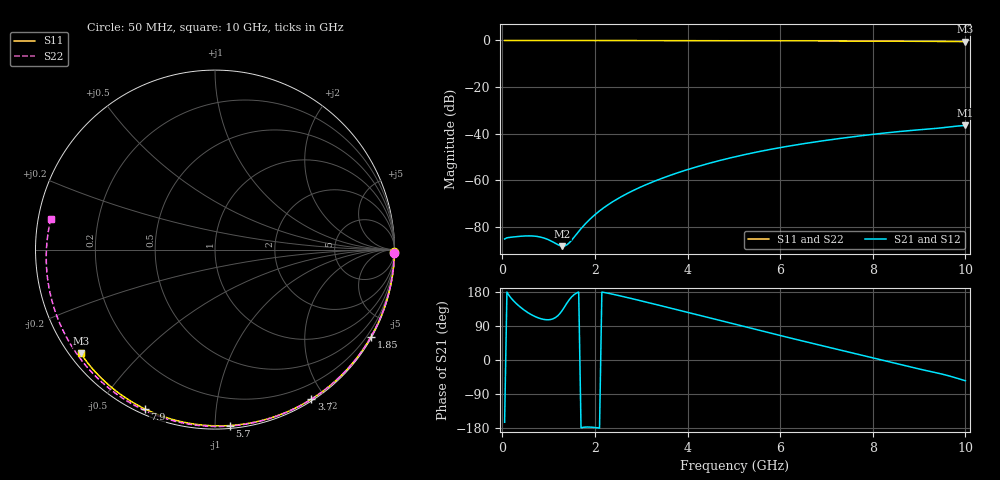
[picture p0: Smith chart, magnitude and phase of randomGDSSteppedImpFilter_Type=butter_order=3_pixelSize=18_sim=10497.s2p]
! freq	dB(S11)	phase(S11)	dB(S12)	phase(S12)
!  dB(S21)	phase(S21)	dB(S22)	phase(S22)
!S-par simulation data
#  GHz  S  DB  R 50
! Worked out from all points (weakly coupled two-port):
!   200 points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, 50 MHz to 10 GHz, reference 50 ohm
!   highest |S21| = -36.49 dB at 10 GHz (marker M1); lowest = -88.3 dB at 1.3 GHz (marker M2)
!   lowest |S11| = -0.5 dB at 10 GHz (marker M3), VSWR 35.02, Z = 1.59 - j17.1 ohm
!   |S11| at or under -10 dB: nowhere
!   |S22| runs from -0.6 to 0.0 dB; largest |S21 - S12| = 0
!   S11 on the Smith chart (normalised r, x): 50 MHz: open; 1.85 GHz: 0.03, -3.82; 3.7 GHz: 0.02, -1.83; 5.7 GHz: 0.02, -1.09; 7.9 GHz: 0.02, -0.65; 10 GHz: 0.03, -0.34
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0.05  -0.00 -0.8  -85.20 -164.3  -85.20 -164.3  -0.00 -1.1
0.65  -0.01 -10.4  -83.91 118.1  -83.91 118.1  -0.02 -14.0
1.3  -0.03 -20.7  -88.29 131.8  -88.29 131.8  -0.03 -27.7
1.7  -0.03 -27.0  -80.77 -178.8  -80.77 -178.8  -0.05 -36.1
1.75  -0.04 -27.8  -79.64 -177.6  -79.64 -177.6  -0.05 -37.1
1.85  -0.04 -29.3  -77.54 -176.8  -77.54 -176.8  -0.05 -39.2
2.15  -0.04 -34.0  -72.40 179.3  -72.40 179.3  -0.06 -45.3
2.5  -0.05 -39.3  -67.84 170.5  -67.84 170.5  -0.07 -52.4
2.9  -0.06 -45.4  -63.71 159.0  -63.71 159.0  -0.08 -60.4
3.4  -0.07 -52.8  -59.53 144.0  -59.53 144.0  -0.09 -70.1
3.7  -0.08 -57.2  -57.38 135.0  -57.38 135.0  -0.10 -75.9
4.35  -0.10 -66.6  -53.36 115.2  -53.36 115.2  -0.12 -88.1
5.05  -0.12 -76.4  -49.82 93.6  -49.82 93.6  -0.15 -100.9
5.7  -0.14 -85.3  -47.09 73.7  -47.09 73.7  -0.19 -112.4
6.2  -0.16 -91.9  -45.30 58.6  -45.30 58.6  -0.22 -121.2
6.7  -0.19 -98.5  -43.72 43.8  -43.72 43.8  -0.25 -130.0
7.3  -0.23 -106.2  -42.04 26.3  -42.04 26.3  -0.30 -140.4
7.9  -0.27 -113.9  -40.54 8.9  -40.54 8.9  -0.36 -151.0
8.35  -0.30 -119.6  -39.53 -4.4  -39.53 -4.4  -0.40 -159.0
9.2  -0.38 -130.5  -38.05 -29.2  -38.05 -29.2  -0.51 -174.7
9.65  -0.43 -136.6  -37.09 -42.1  -37.09 -42.1  -0.57 176.6
10  -0.50 -142.3  -36.49 -54.8  -36.49 -54.8  -0.62 169.6
